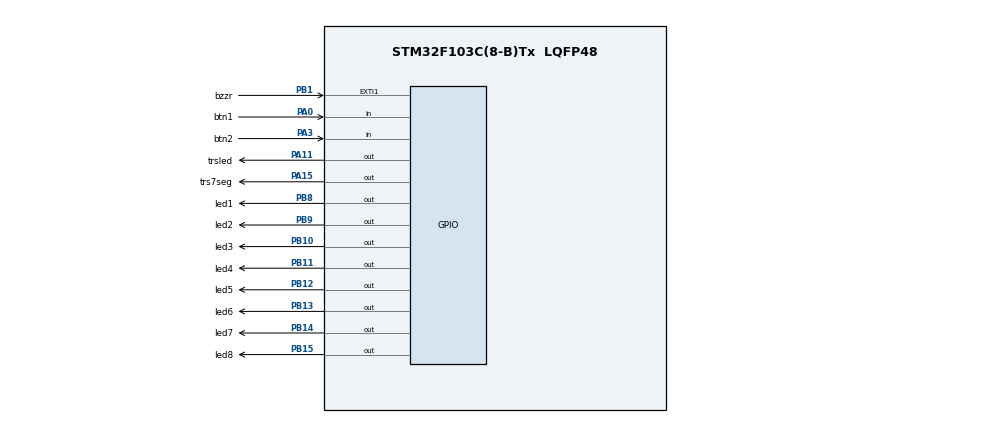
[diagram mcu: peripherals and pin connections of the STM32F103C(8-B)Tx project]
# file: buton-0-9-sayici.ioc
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Mcu.Family=STM32F1
Mcu.Name=STM32F103C(8-B)Tx
Mcu.Package=LQFP48
NVIC.PriorityGroup=NVIC_PRIORITYGROUP_4
PA0-WKUP.GPIO_Label=btn1
PA0-WKUP.Signal=GPIO_Input
PA11.GPIO_Label=trsled
PA11.Signal=GPIO_Output
PA15.GPIO_Label=trs7seg
PA15.Signal=GPIO_Output
PA3.GPIO_Label=btn2
PA3.Signal=GPIO_Input
PB1.GPIO_Label=bzzr
PB1.Signal=GPXTI1
PB10.GPIO_Label=led3
PB10.Signal=GPIO_Output
PB11.GPIO_Label=led4
PB11.Signal=GPIO_Output
PB12.GPIO_Label=led5
PB12.Signal=GPIO_Output
PB13.GPIO_Label=led6
PB13.Signal=GPIO_Output
PB14.GPIO_Label=led7
PB14.Signal=GPIO_Output
PB15.GPIO_Label=led8
PB15.Signal=GPIO_Output
PB8.GPIO_Label=led1
PB8.Signal=GPIO_Output
PB9.GPIO_Label=led2
PB9.Signal=GPIO_Output
ProjectManager.HeapSize=0x200
ProjectManager.StackSize=0x400
ProjectManager.TargetToolchain=STM32CubeIDE
RCC.APB1Freq_Value=8000000
RCC.APB2Freq_Value=8000000
VP_SYS_VS_ND.Mode=No_Debug
board=custom

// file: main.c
/* USER CODE BEGIN Header */
/**
  ******************************************************************************
  * @file           : main.c
  * @brief          : Main program body
  ******************************************************************************
  * @attention
  *
  * Copyright (c) 2026 STMicroelectronics.
  * All rights reserved.
  *
  * This software is licensed under terms that can be found in the LICENSE file
  * in the root directory of this software component.
  * If no LICENSE file comes with this software, it is provided AS-IS.
  *
  ******************************************************************************
  */
/* USER CODE END Header */
#include "main.h"

void SystemClock_Config(void);
static void MX_GPIO_Init(void);

int main(void)
{
  /* USER CODE BEGIN */

  /* USER CODE END */

  /* MCU Configuration--------------------------------------------------------*/

  /* Reset of all peripherals, Initializes the Flash interface and the Systick. */
  HAL_Init();

  /* Configure the system clock */
  SystemClock_Config();

  /* Initialize all configured peripherals */
  MX_GPIO_Init();
  /* USER CODE BEGIN */

  /* USER CODE END */

  /* Infinite loop */
  /* USER CODE BEGIN WHILE */

  HAL_GPIO_WritePin(trsled_GPIO_Port, trsled_Pin, RESET);
  HAL_GPIO_WritePin(trs7seg_GPIO_Port, trs7seg_Pin, SET);
  int sayac = 0;

  while (1)
    {

  	              if (!(HAL_GPIO_ReadPin(btn1_GPIO_Port, btn1_Pin)))
  	              {
  	            	  while(!(HAL_GPIO_ReadPin(btn1_GPIO_Port, btn1_Pin)));
  	            	  sayac++;
  	              }
  	              else if (!(HAL_GPIO_ReadPin(btn2_GPIO_Port, btn2_Pin)))
  	              {
                      while(!(HAL_GPIO_ReadPin(btn2_GPIO_Port, btn2_Pin)));
  	            	  sayac--;
  	              }

  	              switch (sayac)
  	              {

  	              	  case 0: GPIOB->ODR=0x7700; break;

  	              	  case 1: GPIOB->ODR=0x2400; break;

  	              	  case 2: GPIOB->ODR=0xE300; break;

  	              	  case 3: GPIOB->ODR=0xE500; break;

  	              	  case 4: GPIOB->ODR=0xB400; break;

  	              	  case 5: GPIOB->ODR=0xD500; break;

  	              	  case 6: GPIOB->ODR=0xD700; break;

  	              	  case 7: GPIOB->ODR=0x6400; break;

  	              	  case 8: GPIOB->ODR=0xF700; break;

  	              	  case 9: GPIOB->ODR=0xF500; break;

                      case 10:sayac=9; break;
  	             }
    }

    /* USER CODE END WHILE */

    /* USER CODE BEGIN */
 }
  /* USER CODE END */

void SystemClock_Config(void)
{
  RCC_OscInitTypeDef RCC_OscInitStruct = {0};
  RCC_ClkInitTypeDef RCC_ClkInitStruct = {0};

  /** Initializes the RCC Oscillators according to the specified parameters
  * in the RCC_OscInitTypeDef structure.
  */
  RCC_OscInitStruct.OscillatorType = RCC_OSCILLATORTYPE_HSI;
  RCC_OscInitStruct.HSIState = RCC_HSI_ON;
  RCC_OscInitStruct.HSICalibrationValue = RCC_HSICALIBRATION_DEFAULT;
  RCC_OscInitStruct.PLL.PLLState = RCC_PLL_NONE;
  if (HAL_RCC_OscConfig(&RCC_OscInitStruct) != HAL_OK)
  {
    Error_Handler();
  }

  /** Initializes the CPU, AHB and APB buses clocks
  */
  RCC_ClkInitStruct.ClockType = RCC_CLOCKTYPE_HCLK|RCC_CLOCKTYPE_SYSCLK
                              |RCC_CLOCKTYPE_PCLK1|RCC_CLOCKTYPE_PCLK2;
  RCC_ClkInitStruct.SYSCLKSource = RCC_SYSCLKSOURCE_HSI;
  RCC_ClkInitStruct.AHBCLKDivider = RCC_SYSCLK_DIV1;
  RCC_ClkInitStruct.APB1CLKDivider = RCC_HCLK_DIV1;
  RCC_ClkInitStruct.APB2CLKDivider = RCC_HCLK_DIV1;

  if (HAL_RCC_ClockConfig(&RCC_ClkInitStruct, FLASH_LATENCY_0) != HAL_OK)
  {
    Error_Handler();
  }
}

static void MX_GPIO_Init(void)
{
  GPIO_InitTypeDef GPIO_InitStruct = {0};

  /* GPIO Ports Clock Enable */
  __HAL_RCC_GPIOA_CLK_ENABLE();
  __HAL_RCC_GPIOB_CLK_ENABLE();

  /*Configure GPIO pin Output Level */
  HAL_GPIO_WritePin(GPIOB, led3_Pin|led4_Pin|led5_Pin|led6_Pin
                          |led7_Pin|led8_Pin|led1_Pin|led2_Pin, GPIO_PIN_RESET);

  /*Configure GPIO pin Output Level */
  HAL_GPIO_WritePin(GPIOA, trsled_Pin|trs7seg_Pin, GPIO_PIN_RESET);

  /*Configure GPIO pins : btn1_Pin btn2_Pin */
  GPIO_InitStruct.Pin = btn1_Pin|btn2_Pin;
  GPIO_InitStruct.Mode = GPIO_MODE_INPUT;
  GPIO_InitStruct.Pull = GPIO_NOPULL;
  HAL_GPIO_Init(GPIOA, &GPIO_InitStruct);

  /*Configure GPIO pin : bzzr_Pin */
  GPIO_InitStruct.Pin = bzzr_Pin;
  GPIO_InitStruct.Mode = GPIO_MODE_IT_RISING;
  GPIO_InitStruct.Pull = GPIO_NOPULL;
  HAL_GPIO_Init(bzzr_GPIO_Port, &GPIO_InitStruct);

  /*Configure GPIO pins : led3_Pin led4_Pin led5_Pin led6_Pin
                           led7_Pin led8_Pin led1_Pin led2_Pin */
  GPIO_InitStruct.Pin = led3_Pin|led4_Pin|led5_Pin|led6_Pin
                          |led7_Pin|led8_Pin|led1_Pin|led2_Pin;
  GPIO_InitStruct.Mode = GPIO_MODE_OUTPUT_PP;
  GPIO_InitStruct.Pull = GPIO_NOPULL;
  GPIO_InitStruct.Speed = GPIO_SPEED_FREQ_LOW;
  HAL_GPIO_Init(GPIOB, &GPIO_InitStruct);

  /*Configure GPIO pins : trsled_Pin trs7seg_Pin */
  GPIO_InitStruct.Pin = trsled_Pin|trs7seg_Pin;
  GPIO_InitStruct.Mode = GPIO_MODE_OUTPUT_PP;
  GPIO_InitStruct.Pull = GPIO_NOPULL;
  GPIO_InitStruct.Speed = GPIO_SPEED_FREQ_LOW;
  HAL_GPIO_Init(GPIOA, &GPIO_InitStruct);

}

/* USER CODE BEGIN */

/* USER CODE END */

void Error_Handler(void)
{
  __disable_irq();
  while (1)
  {
  }
}
